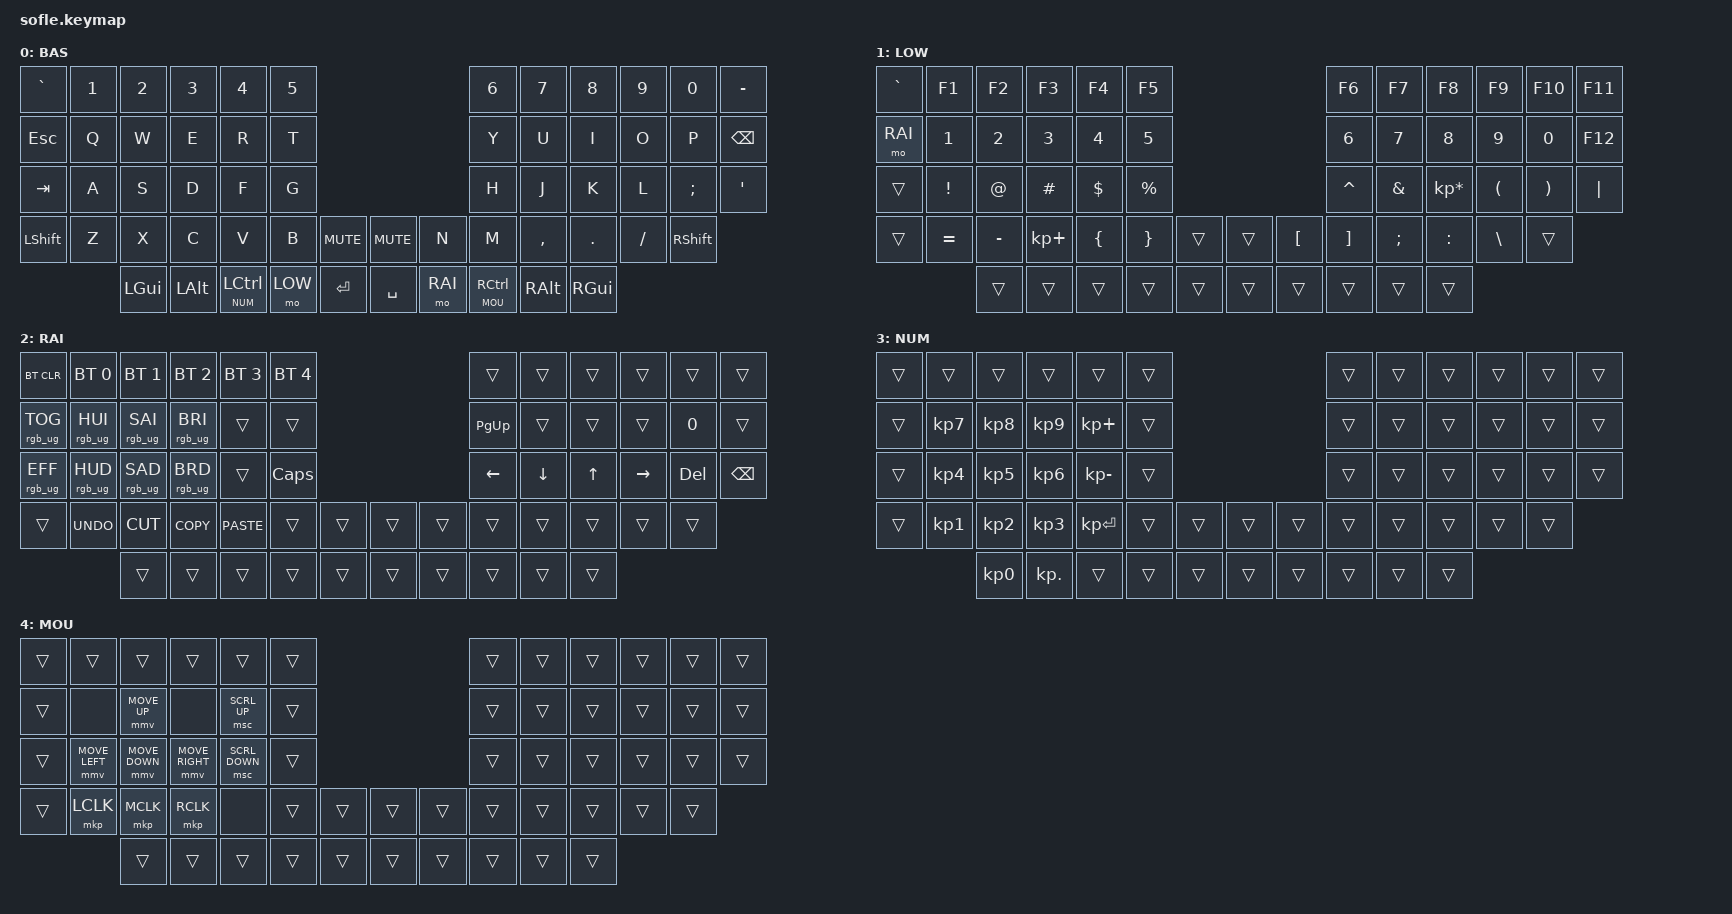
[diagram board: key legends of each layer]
#include <behaviors.dtsi>
#include <dt-bindings/zmk/bt.h>
#include <dt-bindings/zmk/ext_power.h>
#include <dt-bindings/zmk/keys.h>
#include <dt-bindings/zmk/mouse.h> // マウス用に追加
#include <dt-bindings/zmk/rgb.h>   // RGB操作用に追加

// レイヤー番号の定義（わかりやすくするため）
#define BAS 0
#define LOW 1
#define RAI 2
#define NUM 3
#define MOU 4

/ {
    keymap {
        compatible = "zmk,keymap";

        default_layer {
            display-name = "BAS";
            bindings = <
&kp GRAVE  &kp N1  &kp N2    &kp N3    &kp N4     &kp N5                                   &kp N6  &kp N7     &kp N8     &kp N9    &kp N0    &kp MINUS
&kp ESC    &kp Q   &kp W     &kp E     &kp R      &kp T                                    &kp Y   &kp U      &kp I      &kp O     &kp P     &kp BSPC
&kp TAB    &kp A   &kp S     &kp D     &kp F      &kp G                                    &kp H   &kp J      &kp K      &kp L     &kp SEMI  &kp SQT
&kp LSHFT  &kp Z   &kp X     &kp C     &kp V      &kp B   &kp C_MUTE    &kp C_MUTE  &kp N   &kp M      &kp COMMA  &kp DOT   &kp FSLH  &kp RSHFT
                   &kp LGUI  &kp LALT  &lt NUM LCTRL &mo LOW &kp RET    &kp SPACE   &mo RAI &lt MOU RCTRL &kp RALT   &kp RGUI
            >;
            // 親指の LCTRL を「タップでLCTRL、ホールドでNUM(テンキー)層」に変更しました（lt NUM LCTRL）
            // 右側の RCTRL も同様に「ホールドでMOU(マウス)層」にしています。
        };

        lower_layer {
            display-name = "LOW";
            bindings = <
&kp GRAVE  &kp F1     &kp F2     &kp F3       &kp F4    &kp F5                       &kp F6     &kp F7    &kp F8           &kp F9     &kp F10   &kp F11
&mo RAI    &kp N1     &kp N2     &kp N3       &kp N4    &kp N5                       &kp N6     &kp N7    &kp N8           &kp N9     &kp N0    &kp F12
&trans     &kp EXCL   &kp AT     &kp HASH     &kp DLLR  &kp PRCNT                    &kp CARET  &kp AMPS  &kp KP_MULTIPLY  &kp LPAR   &kp RPAR  &kp PIPE
&trans     &kp EQUAL  &kp MINUS  &kp KP_PLUS  &kp LBRC  &kp RBRC   &trans    &trans  &kp LBKT   &kp RBKT  &kp SEMI         &kp COLON  &kp BSLH  &trans
                      &trans     &trans       &trans    &trans     &trans    &trans  &trans     &trans    &trans           &trans
            >;
        };

        raise_layer {
            display-name = "RAI";
            bindings = <
&bt BT_CLR  &bt BT_SEL 0  &bt BT_SEL 1  &bt BT_SEL 2  &bt BT_SEL 3  &bt BT_SEL 4                    &trans     &trans    &trans  &trans     &trans   &trans
&rgb_ug RGB_TOG &rgb_ug RGB_HUI &rgb_ug RGB_SAI &rgb_ug RGB_BRI &trans &trans                   &kp PG_UP  &trans    &trans  &trans     &kp N0   &trans
&rgb_ug RGB_EFF &rgb_ug RGB_HUD &rgb_ug RGB_SAD &rgb_ug RGB_BRD &trans &kp CLCK                 &kp LEFT   &kp DOWN  &kp UP  &kp RIGHT  &kp DEL  &kp BSPC
&trans      &kp K_UNDO    &kp K_CUT     &kp K_COPY    &kp K_PASTE   &trans        &trans    &trans  &trans     &trans    &trans  &trans     &trans   &trans
                          &trans        &trans        &trans        &trans        &trans    &trans  &trans     &trans    &trans  &trans
            >;
            // 左側にRGB操作を割り当てました（TOG:切り替え、HUI/HUD:色、SAI/SAD:彩度、BRI/BRD:明るさ、EFF:パターン）
        };

        num_layer {
            display-name = "NUM";
            bindings = <
&trans  &trans     &trans     &trans     &trans     &trans                       &trans  &trans  &trans  &trans  &trans  &trans
&trans  &kp KP_N7  &kp KP_N8  &kp KP_N9  &kp KP_PLUS &trans                      &trans  &trans  &trans  &trans  &trans  &trans
&trans  &kp KP_N4  &kp KP_N5  &kp KP_N6  &kp KP_MINUS &trans                     &trans  &trans  &trans  &trans  &trans  &trans
&trans  &kp KP_N1  &kp KP_N2  &kp KP_N3  &kp KP_ENTER &trans    &trans   &trans  &trans  &trans  &trans  &trans  &trans  &trans
                   &kp KP_N0  &kp KP_DOT &trans     &trans     &trans   &trans  &trans  &trans  &trans  &trans
            >;
        };

        mouse_layer {
            display-name = "MOU";
            bindings = <
&trans  &trans          &trans          &trans          &trans          &trans                          &trans &trans &trans &trans &trans &trans
&trans  &none           &mmv MOVE_UP    &none           &msc SCRL_UP    &trans                          &trans &trans &trans &trans &trans &trans
&trans  &mmv MOVE_LEFT  &mmv MOVE_DOWN  &mmv MOVE_RIGHT &msc SCRL_DOWN  &trans                          &trans &trans &trans &trans &trans &trans
&trans  &mkp LCLK       &mkp MCLK       &mkp RCLK       &none           &trans &trans          &trans   &trans &trans &trans &trans &trans &trans
                        &trans          &trans          &trans          &trans &trans          &trans   &trans &trans &trans &trans
            >;
        };
    };
};
